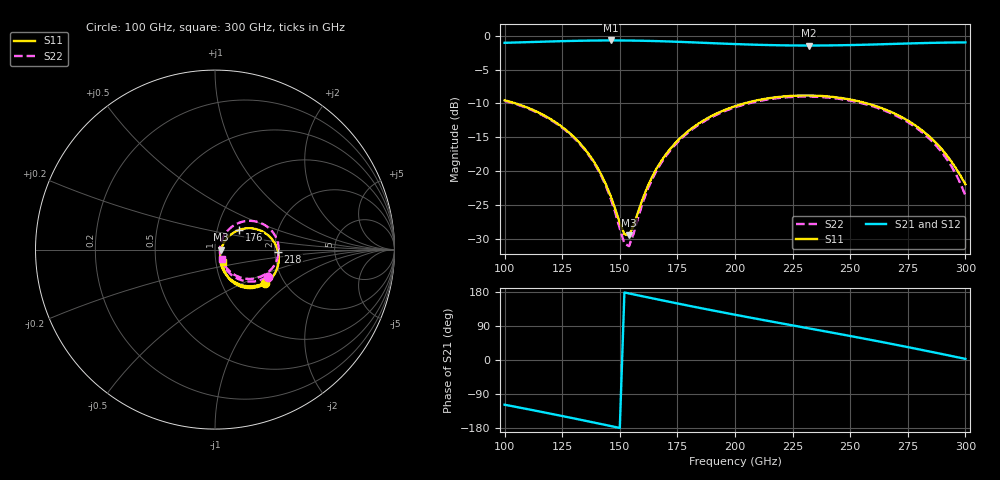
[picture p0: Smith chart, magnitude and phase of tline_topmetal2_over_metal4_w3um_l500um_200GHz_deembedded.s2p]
! Created with skrf 2.0.1 (http://scikit-rf.org).
# GHz S DB R 50.0
!freq dBS11 angS11 dBS21 angS21 dBS12 angS12 dBS22 angS22
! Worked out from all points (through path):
!   101 points, 100 GHz to 300 GHz, reference 50 ohm
!   highest |S21| = -0.69 dB at 146 GHz (marker M1); lowest = -1.4 dB at 232 GHz (marker M2)
!   group delay of S21, straight-line fit = 3.3 ps
!   lowest |S11| = -29.5 dB at 154 GHz (marker M3), VSWR 1.07, Z = 53.5 - j0.137 ohm
!   |S11| at or under -10 dB: 104.7 GHz to 204 GHz (99.29 GHz wide, 64.3 % of centre); 257.3 GHz to end of sweep
!   |S22| runs from -31.1 to -9.0 dB; largest |S21 - S12| = 1.5e-14
!   S11 on the Smith chart (normalised r, x): 100 GHz: 1.60, -0.66; 176 GHz: 1.27, +0.29; 218 GHz: 2.08, -0.05; 300 GHz: 1.08, -0.15
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100  -9.54 -33.4  -1.04 -118.0  -1.04 -118.0  -9.64 -27.2
110  -10.63 -43.9  -0.94 -129.7  -0.94 -129.7  -10.74 -37.2
120  -12.33 -54.1  -0.84 -141.7  -0.84 -141.7  -12.43 -47.0
134  -16.41 -66.2  -0.73 -159.1  -0.73 -159.1  -16.53 -59.0
140  -19.31 -68.4  -0.70 -166.6  -0.70 -166.6  -19.48 -61.6
146  -23.67 -63.4  -0.69 -174.2  -0.69 -174.2  -24.01 -57.9
152  -29.34 -26.8  -0.70 178.1  -0.70 178.1  -30.72 -21.0
154  -29.52 -2.2  -0.71 175.6  -0.71 175.6  -31.11 8.4
162  -22.34 41.5  -0.75 165.5  -0.75 165.5  -22.79 55.6
168  -18.51 43.6  -0.81 157.9  -0.81 157.9  -18.79 57.0
176  -15.21 39.1  -0.90 148.0  -0.90 148.0  -15.42 52.2
186  -12.60 30.3  -1.03 135.9  -1.03 135.9  -12.78 43.5
200  -10.42 16.4  -1.22 119.5  -1.22 119.5  -10.58 30.0
218  -9.08 -1.9  -1.40 99.1  -1.40 99.1  -9.24 12.2
232  -8.83 -16.0  -1.44 83.5  -1.44 83.5  -8.99 -1.7
234  -8.84 -18.0  -1.44 81.3  -1.44 81.3  -9.01 -3.6
252  -9.56 -36.0  -1.36 61.0  -1.36 61.0  -9.73 -21.5
268  -11.30 -51.4  -1.21 42.4  -1.21 42.4  -11.50 -37.5
278  -13.19 -59.9  -1.11 30.4  -1.11 30.4  -13.44 -47.2
288  -16.11 -65.6  -1.03 18.0  -1.03 18.0  -16.51 -55.4
294  -18.63 -65.3  -1.00 10.5  -1.00 10.5  -19.33 -58.3
300  -21.95 -57.1  -0.98 2.9  -0.98 2.9  -23.62 -55.5
